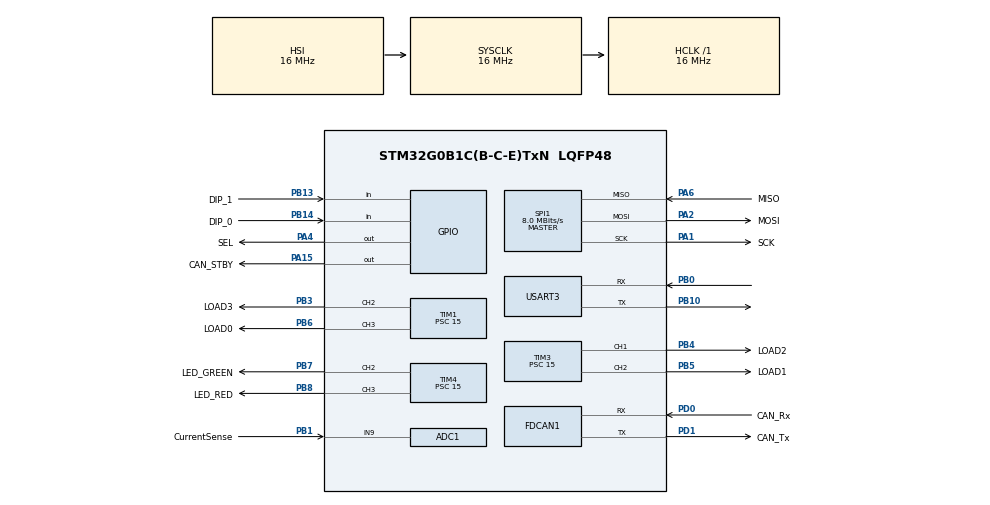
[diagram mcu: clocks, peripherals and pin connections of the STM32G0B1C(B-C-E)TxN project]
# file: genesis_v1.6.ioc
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ADC1.Channel-0\#ChannelRegularConversion=ADC_CHANNEL_9
ADC1.NbrOfConversionFlag=1
ADC1.Rank-0\#ChannelRegularConversion=1
ADC1.SamplingTime-0\#ChannelRegularConversion=ADC_SAMPLINGTIME_COMMON_1
ADC1.SelectedChannel=ADC_CHANNEL_9
ADC1.master=1
FDCAN1.AutoRetransmission=ENABLE
FDCAN1.CalculateBaudRateNominal=250000
FDCAN1.CalculateTimeBitNominal=4000
FDCAN1.CalculateTimeQuantumNominal=250.0
FDCAN1.NominalPrescaler=4
FDCAN1.NominalTimeSeg1=11
FDCAN1.NominalTimeSeg2=4
Mcu.Family=STM32G0
Mcu.Name=STM32G0B1C(B-C-E)TxN
Mcu.Package=LQFP48
NVIC.TIM2_IRQn=true\:0\:0\:false\:false\:true\:true\:true\:true
PA1.GPIO_Label=SCK
PA1.Mode=Full_Duplex_Master
PA1.Signal=SPI1_SCK
PA13.Mode=Serial_Wire
PA13.Signal=SYS_SWDIO
PA14-BOOT0.Mode=Serial_Wire
PA14-BOOT0.Signal=SYS_SWCLK
PA15.GPIO_Label=CAN_STBY
PA15.Signal=GPIO_Output
PA2.GPIO_Label=MOSI
PA2.Mode=Full_Duplex_Master
PA2.Signal=SPI1_MOSI
PA4.GPIO_Label=SEL
PA4.GPIO_Speed=GPIO_SPEED_FREQ_HIGH
PA4.PinState=GPIO_PIN_SET
PA4.Signal=GPIO_Output
PA6.GPIO_Label=MISO
PA6.Mode=Full_Duplex_Master
PA6.Signal=SPI1_MISO
PB0.Mode=Asynchronous
PB0.Signal=USART3_RX
PB1.GPIO_Label=CurrentSense
PB1.Mode=IN9
PB1.Signal=ADC1_IN9
PB10.Mode=Asynchronous
PB10.Signal=USART3_TX
PB13.GPIO_Label=DIP_1
PB13.Signal=GPIO_Input
PB14.GPIO_Label=DIP_0
PB14.Signal=GPIO_Input
PB3.GPIO_Label=LOAD3
PB3.Signal=S_TIM1_CH2
PB4.GPIO_Label=LOAD2
PB4.Signal=S_TIM3_CH1
PB5.GPIO_Label=LOAD1
PB5.Signal=S_TIM3_CH2
PB6.GPIO_Label=LOAD0
PB6.Signal=S_TIM1_CH3
PB7.GPIO_Label=LED_GREEN
PB7.GPIO_ModeDefaultPP=GPIO_MODE_AF_OD
PB7.Signal=S_TIM4_CH2
PB8.GPIO_Label=LED_RED
PB8.GPIO_ModeDefaultPP=GPIO_MODE_AF_OD
PB8.Signal=S_TIM4_CH3
PD0.GPIO_Label=CAN_Rx
PD0.Mode=FDCAN_Activate
PD0.Signal=FDCAN1_RX
PD1.GPIO_Label=CAN_Tx
PD1.Mode=FDCAN_Activate
PD1.Signal=FDCAN1_TX
PF0-OSC_IN\ (PF0).Mode=HSE-External-Oscillator
PF0-OSC_IN\ (PF0).Signal=RCC_OSC_IN
PF1-OSC_OUT\ (PF1).Mode=HSE-External-Oscillator
PF1-OSC_OUT\ (PF1).Signal=RCC_OSC_OUT
ProjectManager.HeapSize=0x200
ProjectManager.StackSize=0x400
ProjectManager.TargetToolchain=STM32CubeIDE
RCC.AHBFreq_Value=16000000
RCC.CortexFreq_Value=16000000
RCC.EXTERNAL_CLOCK_VALUE=48000
RCC.HCLKFreq_Value=16000000
RCC.HSE_VALUE=8000000
RCC.HSI48_VALUE=48000000
RCC.HSI_VALUE=16000000
RCC.LSE_VALUE=32768
RCC.SYSCLKFreq_VALUE=16000000
RCC.USBFreq_Value=48000000
RCC.VCOOutputFreq_Value=128000000
SH.S_TIM1_CH2.0=TIM1_CH2,PWM Generation2 CH2
SH.S_TIM1_CH3.0=TIM1_CH3,PWM Generation3 CH3
SH.S_TIM3_CH1.0=TIM3_CH1,PWM Generation1 CH1
SH.S_TIM3_CH2.0=TIM3_CH2,PWM Generation2 CH2
SH.S_TIM4_CH2.0=TIM4_CH2,PWM Generation2 CH2
SH.S_TIM4_CH3.0=TIM4_CH3,PWM Generation3 CH3
SPI1.CalculateBaudRate=8.0 MBits/s
SPI1.DataSize=SPI_DATASIZE_16BIT
SPI1.Direction=SPI_DIRECTION_2LINES
SPI1.Mode=SPI_MODE_MASTER
SPI1.NSSPMode=SPI_NSS_PULSE_DISABLE
SPI1.VirtualType=VM_MASTER
TIM1.AutoReloadPreload=TIM_AUTORELOAD_PRELOAD_ENABLE
TIM1.Channel-PWM\ Generation2\ CH2=TIM_CHANNEL_2
TIM1.Channel-PWM\ Generation3\ CH3=TIM_CHANNEL_3
TIM1.Period=999
TIM1.Prescaler=15
TIM2.Period=999
TIM2.Prescaler=3999
TIM3.AutoReloadPreload=TIM_AUTORELOAD_PRELOAD_ENABLE
TIM3.Channel-PWM\ Generation1\ CH1=TIM_CHANNEL_1
TIM3.Channel-PWM\ Generation2\ CH2=TIM_CHANNEL_2
TIM3.OCMode_PWM-PWM\ Generation2\ CH2=TIM_OCMODE_PWM2
TIM3.Period=999
TIM3.Prescaler=15
TIM4.AutoReloadPreload=TIM_AUTORELOAD_PRELOAD_ENABLE
TIM4.Channel-PWM\ Generation2\ CH2=TIM_CHANNEL_2
TIM4.Channel-PWM\ Generation3\ CH3=TIM_CHANNEL_3
TIM4.Period=999
TIM4.Prescaler=15
USART3.VirtualMode-Asynchronous=VM_ASYNC
VP_SYS_VS_DBSignals.Mode=DisableDeadBatterySignals
VP_TIM2_VS_ClockSourceINT.Mode=Internal
board=custom

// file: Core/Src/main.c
/* USER CODE BEGIN Header */
/**
  ******************************************************************************
  * @file           : main.c
  * @brief          : Main program body - Compatible with Existing Codebase
  ******************************************************************************
  */
/* USER CODE END Header */
#include "main.h"

/* USER CODE BEGIN Includes */
#include "rvc_cmd.h"
#include "rvc_defs.h"
#include "vnq7003sys.h"        // Use the unified driver
#include "vnq7003sys_regs.h"   // Use the correct filename
#include <stdio.h>
/* USER CODE END Includes */

ADC_HandleTypeDef hadc1;

FDCAN_HandleTypeDef hfdcan1;

SPI_HandleTypeDef hspi1;

TIM_HandleTypeDef htim1;
TIM_HandleTypeDef htim2;
TIM_HandleTypeDef htim3;
TIM_HandleTypeDef htim4;

UART_HandleTypeDef huart3;

void SystemClock_Config(void);
static void MX_GPIO_Init(void);
static void MX_ADC1_Init(void);
static void MX_FDCAN1_Init(void);
static void MX_SPI1_Init(void);
static void MX_TIM1_Init(void);
static void MX_TIM3_Init(void);
static void MX_USART3_UART_Init(void);
static void MX_TIM4_Init(void);
static void MX_TIM2_Init(void);
/* USER CODE BEGIN PFP */
int _write(int file, char *ptr, int len);
void check_fdcan_status(void);
void test_manual_command(void);
void print_system_status(void);
/* USER CODE END PFP */

/* USER CODE BEGIN 0 */

// Printf redirection to UART3 - REQUIRED FOR CONSOLE OUTPUT
#ifdef __GNUC__
int _write(int file, char *ptr, int len)
{
    if (ptr && len > 0) {
        HAL_UART_Transmit(&huart3, (uint8_t*)ptr, len, HAL_MAX_DELAY);
        return len;
    }
    return 0;
}
#endif

// Check FDCAN status periodically
void check_fdcan_status(void)
{
    static uint32_t last_check = 0;
    if (HAL_GetTick() - last_check > 5000) {  // Every 5 seconds
        uint32_t messages, errors;
        RVC_GetStats(&messages, &errors);
        printf("RV-C Stats: %lu msgs, %lu errors\r\n", messages, errors);

        // Also check VNQ7003 status
        vnq_status_t vnq_status = vnq_get_status();
        printf("VNQ7003 Status: %s\r\n",
               vnq_status == VNQ_STATUS_HEALTHY ? "HEALTHY" :
               vnq_status == VNQ_STATUS_ERROR ? "ERROR" :
               vnq_status == VNQ_STATUS_FAILSAFE ? "FAILSAFE" : "COMM_ERROR");

        last_check = HAL_GetTick();
    }
}

// Test manual command to verify logic works
void test_manual_command(void)
{
    static bool test_done = false;
    static uint32_t test_start = 0;

    if (!test_done && HAL_GetTick() > 15000) {  // Wait 15 seconds after startup
        printf("=== Testing Manual Load Command ===\r\n");
        uint8_t test_data[] = {0x00, 0x01, 0x00, 0x00, 0x00, 0x00, 0x00, 0x00};
        RVC_HandleLoadCommand(0x1FFBC, test_data, 8);
        test_start = HAL_GetTick();
        test_done = true;
    }

    // Turn off after 3 seconds
    if (test_done && test_start > 0 && HAL_GetTick() - test_start > 3000) {
        printf("=== Turning Off Test Load ===\r\n");
        uint8_t test_data[] = {0x00, 0x00, 0x00, 0x00, 0x00, 0x00, 0x00, 0x00};
        RVC_HandleLoadCommand(0x1FFBC, test_data, 8);
        test_start = 0;  // Prevent repeat
    }
}

// Enhanced system status monitoring
void print_system_status(void)
{
    static uint32_t last_status = 0;
    if (HAL_GetTick() - last_status > 10000) {  // Every 10 seconds
        printf("\r\n=== System Status Report ===\r\n");
        printf("Uptime: %lu seconds\r\n", HAL_GetTick() / 1000);

        // VNQ7003 detailed status
        vnq_print_simple_status();

        // RV-C statistics
        uint32_t messages, errors;
        RVC_GetStats(&messages, &errors);
        printf("RV-C: %lu messages processed, %lu errors\r\n", messages, errors);

        // Channel states
        for (uint8_t ch = 0; ch < 4; ch++) {
            bool on_off;
            uint8_t pwm_percent;
            if (RVC_GetChannelState(ch, &on_off, &pwm_percent)) {
                printf("Channel %d: %s @ %d%%\r\n",
                       ch, on_off ? "ON" : "OFF", pwm_percent);
            }
        }

        printf("========================\r\n\r\n");
        last_status = HAL_GetTick();
    }
}

/* USER CODE END 0 */

int main(void)
{

  /* MCU Configuration--------------------------------------------------------*/

  /* Reset of all peripherals, Initializes the Flash interface and the Systick. */
  HAL_Init();

  /* Configure the system clock */
  SystemClock_Config();

  /* Initialize all configured peripherals */
  MX_GPIO_Init();
  MX_ADC1_Init();
  MX_FDCAN1_Init();
  MX_SPI1_Init();
  MX_TIM1_Init();
  MX_TIM3_Init();
  MX_USART3_UART_Init();
  MX_TIM4_Init();
  MX_TIM2_Init();
  /* USER CODE BEGIN 2 */

  // Small delay to let console settle
  HAL_Delay(100);

  printf("\r\n=== RV-C DC Load Controller - STARTUP ===\r\n");
  printf("System Clock: %lu Hz\r\n", HAL_RCC_GetSysClockFreq());
  printf("Build: %s %s\r\n", __DATE__, __TIME__);
  printf("Initializing subsystems...\r\n");

  // Initialize VNQ7003 driver first with enhanced diagnostics
  printf("Initializing VNQ7003 with diagnostics...\r\n");

  // Try the enhanced initialization for better diagnostics
  if (!VNQ7003_Init_For_DI_Control()) {
      printf("ERROR: VNQ7003 standard initialization failed!\r\n");
      printf("Trying basic initialization as fallback...\r\n");

      // Fallback to basic init
      if (!vnq_init()) {
          printf("CRITICAL: VNQ7003 completely failed to initialize!\r\n");
          printf("Check hardware connections and power supply\r\n");
          Error_Handler();
      }
  }
  printf("VNQ7003 initialized successfully\r\n");

  // Initialize RV-C command handling
  printf("Initializing RV-C command handler...\r\n");
  RVC_Init();
  printf("RV-C system ready\r\n");

  printf("\r\n=== SYSTEM READY ===\r\n");
  printf("Listening for RV-C commands on address 0x%02X\r\n", RVC_SRC_ADDR);
  printf("Test commands:\r\n");
  printf("  Load ON:  CAN ID 0x19FFBCFF, Data: 00 01 00 00 00 00 00 00\r\n");
  printf("  Load OFF: CAN ID 0x19FFBCFF, Data: 00 00 00 00 00 00 00 00\r\n");
  printf("  Dimmer:   CAN ID 0x19FFB9FF, Data: 00 32 00 00 00 00 00 00 (50%%)\r\n");
  printf("=====================\r\n\r\n");

  /* USER CODE END 2 */

  /* Infinite loop */
  while (1)
  {

    /* USER CODE BEGIN 3 */

    // CRITICAL: Service VNQ7003 watchdog every loop iteration
    vnq_task();

    // Check FDCAN and system status periodically
    check_fdcan_status();

    // Test manual command (for testing - can be commented out)
    test_manual_command();

    // Print comprehensive system status
    print_system_status();

    // Short delay to prevent overwhelming the system
    HAL_Delay(5);  // 5ms loop timing
  }
  /* USER CODE END 3 */
}

void SystemClock_Config(void)
{
  RCC_OscInitTypeDef RCC_OscInitStruct = {0};
  RCC_ClkInitTypeDef RCC_ClkInitStruct = {0};

  /** Configure the main internal regulator output voltage
  */
  HAL_PWREx_ControlVoltageScaling(PWR_REGULATOR_VOLTAGE_SCALE1);

  /** Initializes the RCC Oscillators according to the specified parameters
  * in the RCC_OscInitTypeDef structure.
  */
  RCC_OscInitStruct.OscillatorType = RCC_OSCILLATORTYPE_HSI;
  RCC_OscInitStruct.HSIState = RCC_HSI_ON;
  RCC_OscInitStruct.HSIDiv = RCC_HSI_DIV1;
  RCC_OscInitStruct.HSICalibrationValue = RCC_HSICALIBRATION_DEFAULT;
  RCC_OscInitStruct.PLL.PLLState = RCC_PLL_NONE;
  if (HAL_RCC_OscConfig(&RCC_OscInitStruct) != HAL_OK)
  {
    Error_Handler();
  }

  /** Initializes the CPU, AHB and APB buses clocks
  */
  RCC_ClkInitStruct.ClockType = RCC_CLOCKTYPE_HCLK|RCC_CLOCKTYPE_SYSCLK
                              |RCC_CLOCKTYPE_PCLK1;
  RCC_ClkInitStruct.SYSCLKSource = RCC_SYSCLKSOURCE_HSI;
  RCC_ClkInitStruct.AHBCLKDivider = RCC_SYSCLK_DIV1;
  RCC_ClkInitStruct.APB1CLKDivider = RCC_HCLK_DIV1;

  if (HAL_RCC_ClockConfig(&RCC_ClkInitStruct, FLASH_LATENCY_0) != HAL_OK)
  {
    Error_Handler();
  }
}

static void MX_ADC1_Init(void)
{

  ADC_ChannelConfTypeDef sConfig = {0};

  /** Configure the global features of the ADC (Clock, Resolution, Data Alignment and number of conversion)
  */
  hadc1.Instance = ADC1;
  hadc1.Init.ClockPrescaler = ADC_CLOCK_SYNC_PCLK_DIV2;
  hadc1.Init.Resolution = ADC_RESOLUTION_12B;
  hadc1.Init.DataAlign = ADC_DATAALIGN_RIGHT;
  hadc1.Init.ScanConvMode = ADC_SCAN_DISABLE;
  hadc1.Init.EOCSelection = ADC_EOC_SINGLE_CONV;
  hadc1.Init.LowPowerAutoWait = DISABLE;
  hadc1.Init.LowPowerAutoPowerOff = DISABLE;
  hadc1.Init.ContinuousConvMode = DISABLE;
  hadc1.Init.NbrOfConversion = 1;
  hadc1.Init.DiscontinuousConvMode = DISABLE;
  hadc1.Init.ExternalTrigConv = ADC_SOFTWARE_START;
  hadc1.Init.ExternalTrigConvEdge = ADC_EXTERNALTRIGCONVEDGE_NONE;
  hadc1.Init.DMAContinuousRequests = DISABLE;
  hadc1.Init.Overrun = ADC_OVR_DATA_PRESERVED;
  hadc1.Init.SamplingTimeCommon1 = ADC_SAMPLETIME_1CYCLE_5;
  hadc1.Init.SamplingTimeCommon2 = ADC_SAMPLETIME_1CYCLE_5;
  hadc1.Init.OversamplingMode = DISABLE;
  hadc1.Init.TriggerFrequencyMode = ADC_TRIGGER_FREQ_HIGH;
  if (HAL_ADC_Init(&hadc1) != HAL_OK)
  {
    Error_Handler();
  }

  /** Configure Regular Channel
  */
  sConfig.Channel = ADC_CHANNEL_9;
  sConfig.Rank = ADC_REGULAR_RANK_1;
  sConfig.SamplingTime = ADC_SAMPLINGTIME_COMMON_1;
  if (HAL_ADC_ConfigChannel(&hadc1, &sConfig) != HAL_OK)
  {
    Error_Handler();
  }

}

static void MX_FDCAN1_Init(void)
{

  hfdcan1.Instance = FDCAN1;
  hfdcan1.Init.ClockDivider = FDCAN_CLOCK_DIV1;
  hfdcan1.Init.FrameFormat = FDCAN_FRAME_CLASSIC;
  hfdcan1.Init.Mode = FDCAN_MODE_NORMAL;
  hfdcan1.Init.AutoRetransmission = ENABLE;
  hfdcan1.Init.TransmitPause = DISABLE;
  hfdcan1.Init.ProtocolException = DISABLE;
  hfdcan1.Init.NominalPrescaler = 4;
  hfdcan1.Init.NominalSyncJumpWidth = 1;
  hfdcan1.Init.NominalTimeSeg1 = 11;
  hfdcan1.Init.NominalTimeSeg2 = 4;
  hfdcan1.Init.DataPrescaler = 1;
  hfdcan1.Init.DataSyncJumpWidth = 1;
  hfdcan1.Init.DataTimeSeg1 = 1;
  hfdcan1.Init.DataTimeSeg2 = 1;
  hfdcan1.Init.StdFiltersNbr = 0;
  hfdcan1.Init.ExtFiltersNbr = 0;
  hfdcan1.Init.TxFifoQueueMode = FDCAN_TX_FIFO_OPERATION;
  if (HAL_FDCAN_Init(&hfdcan1) != HAL_OK)
  {
    Error_Handler();
  }

}

static void MX_SPI1_Init(void)
{

  /* SPI1 parameter configuration*/
  hspi1.Instance = SPI1;
  hspi1.Init.Mode = SPI_MODE_MASTER;
  hspi1.Init.Direction = SPI_DIRECTION_2LINES;
  hspi1.Init.DataSize = SPI_DATASIZE_16BIT;
  hspi1.Init.CLKPolarity = SPI_POLARITY_LOW;
  hspi1.Init.CLKPhase = SPI_PHASE_1EDGE;
  hspi1.Init.NSS = SPI_NSS_SOFT;
  hspi1.Init.BaudRatePrescaler = SPI_BAUDRATEPRESCALER_2;
  hspi1.Init.FirstBit = SPI_FIRSTBIT_MSB;
  hspi1.Init.TIMode = SPI_TIMODE_DISABLE;
  hspi1.Init.CRCCalculation = SPI_CRCCALCULATION_DISABLE;
  hspi1.Init.CRCPolynomial = 7;
  hspi1.Init.CRCLength = SPI_CRC_LENGTH_DATASIZE;
  hspi1.Init.NSSPMode = SPI_NSS_PULSE_DISABLE;
  if (HAL_SPI_Init(&hspi1) != HAL_OK)
  {
    Error_Handler();
  }

}

static void MX_TIM1_Init(void)
{

  TIM_MasterConfigTypeDef sMasterConfig = {0};
  TIM_OC_InitTypeDef sConfigOC = {0};
  TIM_BreakDeadTimeConfigTypeDef sBreakDeadTimeConfig = {0};

  htim1.Instance = TIM1;
  htim1.Init.Prescaler = 15;
  htim1.Init.CounterMode = TIM_COUNTERMODE_UP;
  htim1.Init.Period = 999;
  htim1.Init.ClockDivision = TIM_CLOCKDIVISION_DIV1;
  htim1.Init.RepetitionCounter = 0;
  htim1.Init.AutoReloadPreload = TIM_AUTORELOAD_PRELOAD_ENABLE;
  if (HAL_TIM_PWM_Init(&htim1) != HAL_OK)
  {
    Error_Handler();
  }
  sMasterConfig.MasterOutputTrigger = TIM_TRGO_RESET;
  sMasterConfig.MasterOutputTrigger2 = TIM_TRGO2_RESET;
  sMasterConfig.MasterSlaveMode = TIM_MASTERSLAVEMODE_DISABLE;
  if (HAL_TIMEx_MasterConfigSynchronization(&htim1, &sMasterConfig) != HAL_OK)
  {
    Error_Handler();
  }
  sConfigOC.OCMode = TIM_OCMODE_PWM1;
  sConfigOC.Pulse = 0;
  sConfigOC.OCPolarity = TIM_OCPOLARITY_HIGH;
  sConfigOC.OCNPolarity = TIM_OCNPOLARITY_HIGH;
  sConfigOC.OCFastMode = TIM_OCFAST_DISABLE;
  sConfigOC.OCIdleState = TIM_OCIDLESTATE_RESET;
  sConfigOC.OCNIdleState = TIM_OCNIDLESTATE_RESET;
  if (HAL_TIM_PWM_ConfigChannel(&htim1, &sConfigOC, TIM_CHANNEL_2) != HAL_OK)
  {
    Error_Handler();
  }
  if (HAL_TIM_PWM_ConfigChannel(&htim1, &sConfigOC, TIM_CHANNEL_3) != HAL_OK)
  {
    Error_Handler();
  }
  sBreakDeadTimeConfig.OffStateRunMode = TIM_OSSR_DISABLE;
  sBreakDeadTimeConfig.OffStateIDLEMode = TIM_OSSI_DISABLE;
  sBreakDeadTimeConfig.LockLevel = TIM_LOCKLEVEL_OFF;
  sBreakDeadTimeConfig.DeadTime = 0;
  sBreakDeadTimeConfig.BreakState = TIM_BREAK_DISABLE;
  sBreakDeadTimeConfig.BreakPolarity = TIM_BREAKPOLARITY_HIGH;
  sBreakDeadTimeConfig.BreakFilter = 0;
  sBreakDeadTimeConfig.BreakAFMode = TIM_BREAK_AFMODE_INPUT;
  sBreakDeadTimeConfig.Break2State = TIM_BREAK2_DISABLE;
  sBreakDeadTimeConfig.Break2Polarity = TIM_BREAK2POLARITY_HIGH;
  sBreakDeadTimeConfig.Break2Filter = 0;
  sBreakDeadTimeConfig.Break2AFMode = TIM_BREAK_AFMODE_INPUT;
  sBreakDeadTimeConfig.AutomaticOutput = TIM_AUTOMATICOUTPUT_DISABLE;
  if (HAL_TIMEx_ConfigBreakDeadTime(&htim1, &sBreakDeadTimeConfig) != HAL_OK)
  {
    Error_Handler();
  }
  HAL_TIM_MspPostInit(&htim1);

}

static void MX_TIM2_Init(void)
{

  TIM_ClockConfigTypeDef sClockSourceConfig = {0};
  TIM_MasterConfigTypeDef sMasterConfig = {0};

  htim2.Instance = TIM2;
  htim2.Init.Prescaler = 3999;
  htim2.Init.CounterMode = TIM_COUNTERMODE_UP;
  htim2.Init.Period = 999;
  htim2.Init.ClockDivision = TIM_CLOCKDIVISION_DIV1;
  htim2.Init.AutoReloadPreload = TIM_AUTORELOAD_PRELOAD_DISABLE;
  if (HAL_TIM_Base_Init(&htim2) != HAL_OK)
  {
    Error_Handler();
  }
  sClockSourceConfig.ClockSource = TIM_CLOCKSOURCE_INTERNAL;
  if (HAL_TIM_ConfigClockSource(&htim2, &sClockSourceConfig) != HAL_OK)
  {
    Error_Handler();
  }
  sMasterConfig.MasterOutputTrigger = TIM_TRGO_RESET;
  sMasterConfig.MasterSlaveMode = TIM_MASTERSLAVEMODE_DISABLE;
  if (HAL_TIMEx_MasterConfigSynchronization(&htim2, &sMasterConfig) != HAL_OK)
  {
    Error_Handler();
  }

}

static void MX_TIM3_Init(void)
{

  TIM_MasterConfigTypeDef sMasterConfig = {0};
  TIM_OC_InitTypeDef sConfigOC = {0};

  htim3.Instance = TIM3;
  htim3.Init.Prescaler = 15;
  htim3.Init.CounterMode = TIM_COUNTERMODE_UP;
  htim3.Init.Period = 999;
  htim3.Init.ClockDivision = TIM_CLOCKDIVISION_DIV1;
  htim3.Init.AutoReloadPreload = TIM_AUTORELOAD_PRELOAD_ENABLE;
  if (HAL_TIM_PWM_Init(&htim3) != HAL_OK)
  {
    Error_Handler();
  }
  sMasterConfig.MasterOutputTrigger = TIM_TRGO_RESET;
  sMasterConfig.MasterSlaveMode = TIM_MASTERSLAVEMODE_DISABLE;
  if (HAL_TIMEx_MasterConfigSynchronization(&htim3, &sMasterConfig) != HAL_OK)
  {
    Error_Handler();
  }
  sConfigOC.OCMode = TIM_OCMODE_PWM1;
  sConfigOC.Pulse = 0;
  sConfigOC.OCPolarity = TIM_OCPOLARITY_HIGH;
  sConfigOC.OCFastMode = TIM_OCFAST_DISABLE;
  if (HAL_TIM_PWM_ConfigChannel(&htim3, &sConfigOC, TIM_CHANNEL_1) != HAL_OK)
  {
    Error_Handler();
  }
  sConfigOC.OCMode = TIM_OCMODE_PWM2;
  if (HAL_TIM_PWM_ConfigChannel(&htim3, &sConfigOC, TIM_CHANNEL_2) != HAL_OK)
  {
    Error_Handler();
  }
  HAL_TIM_MspPostInit(&htim3);

}

static void MX_TIM4_Init(void)
{

  TIM_MasterConfigTypeDef sMasterConfig = {0};
  TIM_OC_InitTypeDef sConfigOC = {0};

  htim4.Instance = TIM4;
  htim4.Init.Prescaler = 15;
  htim4.Init.CounterMode = TIM_COUNTERMODE_UP;
  htim4.Init.Period = 999;
  htim4.Init.ClockDivision = TIM_CLOCKDIVISION_DIV1;
  htim4.Init.AutoReloadPreload = TIM_AUTORELOAD_PRELOAD_ENABLE;
  if (HAL_TIM_PWM_Init(&htim4) != HAL_OK)
  {
    Error_Handler();
  }
  sMasterConfig.MasterOutputTrigger = TIM_TRGO_RESET;
  sMasterConfig.MasterSlaveMode = TIM_MASTERSLAVEMODE_DISABLE;
  if (HAL_TIMEx_MasterConfigSynchronization(&htim4, &sMasterConfig) != HAL_OK)
  {
    Error_Handler();
  }
  sConfigOC.OCMode = TIM_OCMODE_PWM1;
  sConfigOC.Pulse = 0;
  sConfigOC.OCPolarity = TIM_OCPOLARITY_HIGH;
  sConfigOC.OCFastMode = TIM_OCFAST_DISABLE;
  if (HAL_TIM_PWM_ConfigChannel(&htim4, &sConfigOC, TIM_CHANNEL_2) != HAL_OK)
  {
    Error_Handler();
  }
  if (HAL_TIM_PWM_ConfigChannel(&htim4, &sConfigOC, TIM_CHANNEL_3) != HAL_OK)
  {
    Error_Handler();
  }
  HAL_TIM_MspPostInit(&htim4);

}

static void MX_USART3_UART_Init(void)
{

  huart3.Instance = USART3;
  huart3.Init.BaudRate = 115200;
  huart3.Init.WordLength = UART_WORDLENGTH_8B;
  huart3.Init.StopBits = UART_STOPBITS_1;
  huart3.Init.Parity = UART_PARITY_NONE;
  huart3.Init.Mode = UART_MODE_TX_RX;
  huart3.Init.HwFlowCtl = UART_HWCONTROL_NONE;
  huart3.Init.OverSampling = UART_OVERSAMPLING_16;
  huart3.Init.OneBitSampling = UART_ONE_BIT_SAMPLE_DISABLE;
  huart3.Init.ClockPrescaler = UART_PRESCALER_DIV1;
  huart3.AdvancedInit.AdvFeatureInit = UART_ADVFEATURE_NO_INIT;
  if (HAL_UART_Init(&huart3) != HAL_OK)
  {
    Error_Handler();
  }
  if (HAL_UARTEx_SetTxFifoThreshold(&huart3, UART_TXFIFO_THRESHOLD_1_8) != HAL_OK)
  {
    Error_Handler();
  }
  if (HAL_UARTEx_SetRxFifoThreshold(&huart3, UART_RXFIFO_THRESHOLD_1_8) != HAL_OK)
  {
    Error_Handler();
  }
  if (HAL_UARTEx_DisableFifoMode(&huart3) != HAL_OK)
  {
    Error_Handler();
  }

}

static void MX_GPIO_Init(void)
{
  GPIO_InitTypeDef GPIO_InitStruct = {0};

  /* GPIO Ports Clock Enable */
  __HAL_RCC_GPIOF_CLK_ENABLE();
  __HAL_RCC_GPIOA_CLK_ENABLE();
  __HAL_RCC_GPIOB_CLK_ENABLE();
  __HAL_RCC_GPIOD_CLK_ENABLE();

  /*Configure GPIO pin Output Level */
  HAL_GPIO_WritePin(SEL_GPIO_Port, SEL_Pin, GPIO_PIN_SET);

  /*Configure GPIO pin Output Level */
  HAL_GPIO_WritePin(CAN_STBY_GPIO_Port, CAN_STBY_Pin, GPIO_PIN_RESET);

  /*Configure GPIO pin : SEL_Pin */
  GPIO_InitStruct.Pin = SEL_Pin;
  GPIO_InitStruct.Mode = GPIO_MODE_OUTPUT_PP;
  GPIO_InitStruct.Pull = GPIO_NOPULL;
  GPIO_InitStruct.Speed = GPIO_SPEED_FREQ_HIGH;
  HAL_GPIO_Init(SEL_GPIO_Port, &GPIO_InitStruct);

  /*Configure GPIO pins : DIP_1_Pin DIP_0_Pin */
  GPIO_InitStruct.Pin = DIP_1_Pin|DIP_0_Pin;
  GPIO_InitStruct.Mode = GPIO_MODE_INPUT;
  GPIO_InitStruct.Pull = GPIO_NOPULL;
  HAL_GPIO_Init(GPIOB, &GPIO_InitStruct);

  /*Configure GPIO pin : CAN_STBY_Pin */
  GPIO_InitStruct.Pin = CAN_STBY_Pin;
  GPIO_InitStruct.Mode = GPIO_MODE_OUTPUT_PP;
  GPIO_InitStruct.Pull = GPIO_NOPULL;
  GPIO_InitStruct.Speed = GPIO_SPEED_FREQ_LOW;
  HAL_GPIO_Init(CAN_STBY_GPIO_Port, &GPIO_InitStruct);

}

void Error_Handler(void)
{
  /* USER CODE BEGIN Error_Handler_Debug */
  /* User can add his own implementation to report the HAL error return state */
  __disable_irq();
  printf("CRITICAL ERROR: System halted\r\n");
  while (1)
  {
    // Flash LED if available to indicate error
    #ifdef LED_RED_GPIO_Port
    HAL_GPIO_TogglePin(LED_RED_GPIO_Port, LED_RED_Pin);
    HAL_Delay(200);
    #else
    // Just wait if no LED available
    HAL_Delay(1000);
    #endif
  }
  /* USER CODE END Error_Handler_Debug */
}

#ifdef  USE_FULL_ASSERT
/**
  * @brief  Reports the name of the source file and the source line number
  *         where the assert_param error has occurred.
  * @param  file: pointer to the source file name
  * @param  line: assert_param error line source number
  * @retval None
  */
void assert_failed(uint8_t *file, uint32_t line)
{
  /* USER CODE BEGIN 6 */
  /* User can add his own implementation to report the file name and line number,
     ex: printf("Wrong parameters value: file %s on line %d\r\n", file, line) */
  printf("Assert failed: file %s on line %lu\r\n", file, line);
  /* USER CODE END 6 */
}
#endif /* USE_FULL_ASSERT */
